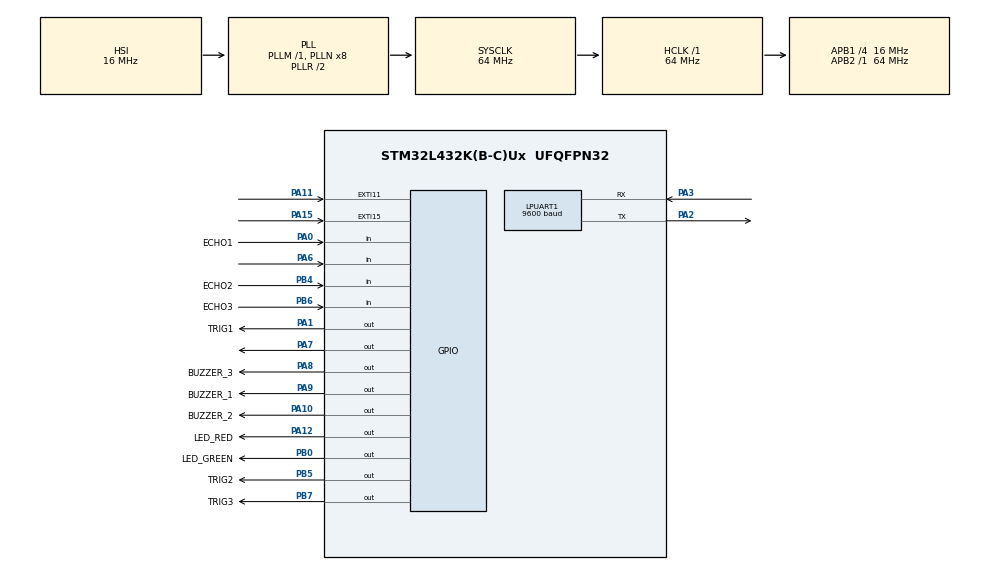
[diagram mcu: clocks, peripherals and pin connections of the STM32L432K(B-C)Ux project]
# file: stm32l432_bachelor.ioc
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Mcu.Family=STM32L4
RCC.CortexFreq_Value=64000000
NVIC.RTC_WKUP_IRQn=true\:0\:0\:false\:false\:true\:true\:true
PA0.GPIO_Label=ECHO1
VP_RTC_VS_RTC_Activate.Mode=RTC_Enabled
LPUART1.WordLength=UART_WORDLENGTH_8B
PB0.GPIO_Label=LED_GREEN
PB6.GPIO_Label=ECHO3
PA15\ (JTDI).Signal=GPXTI15
PC15-OSC32_OUT\ (PC15).Mode=LSE-External-Oscillator
RCC.SYSCLKSource=RCC_SYSCLKSOURCE_PLLCLK
ProjectManager.StackSize=0x400
PC14-OSC32_IN\ (PC14).Mode=LSE-External-Oscillator
PA14\ (JTCK-SWCLK).Signal=SYS_JTCK-SWCLK
PA12.Signal=GPIO_Output
TIM1.Prescaler=80-1
NVIC.LPUART1_IRQn=true\:0\:0\:false\:false\:true\:true\:true
RCC.HCLKFreq_Value=64000000
RCC.APB2TimFreq_Value=64000000
PB6.Signal=GPIO_Input
RCC.AHBFreq_Value=64000000
NVIC.EXTI15_10_IRQn=true\:0\:0\:false\:false\:true\:true\:true
RCC.HSE_VALUE=8000000
PA10.GPIO_Label=BUZZER_2
PB7.Signal=GPIO_Output
PA8.Signal=GPIO_Output
VP_TIM1_VS_ClockSourceINT.Mode=Internal
PA0.Signal=GPIO_Input
PB7.GPIO_Label=TRIG3
Mcu.Package=UFQFPN32
PA6.Signal=GPIO_Input
PA10.Signal=GPIO_Output
VP_RTC_VS_RTC_Calendar.Mode=RTC_Calendar
PB5.GPIO_Label=TRIG2
RCC.APB1TimFreq_Value=32000000
TIM1.Period=0
PA13\ (JTMS-SWDIO).Signal=SYS_JTMS-SWDIO
NVIC.RCC_IRQn=true\:0\:0\:false\:false\:true\:true\:false
RCC.HSI48_VALUE=48000000
PA3.Signal=LPUART1_RX
RCC.MSI_VALUE=4000000
RCC.PLLSourceVirtual=RCC_PLLSOURCE_HSI
PA14\ (JTCK-SWCLK).Mode=Serial_Wire
PA9.GPIO_Label=BUZZER_1
PC15-OSC32_OUT\ (PC15).Signal=RCC_OSC32_OUT
RCC.APB1CLKDivider=RCC_HCLK_DIV4
PA12.GPIO_Label=LED_RED
PA3.Mode=Asynchronous
PA8.GPIO_Label=BUZZER_3
ProjectManager.TargetToolchain=STM32CubeIDE
PA9.Signal=GPIO_Output
RCC.USBFreq_Value=64000000
PA1.Signal=GPIO_Output
board=custom
RCC.VCOOutputFreq_Value=128000000
RCC.APB2Freq_Value=64000000
RCC.ADCFreq_Value=64000000
PA1.GPIO_Label=TRIG1
NVIC.PVD_PVM_IRQn=true\:0\:0\:false\:false\:true\:true\:true
Mcu.Name=STM32L432K(B-C)Ux
LPUART1.BaudRate=9600
PA2.Signal=LPUART1_TX
NVIC.TIM1_CC_IRQn=true\:0\:0\:false\:false\:true\:true\:true
PA13\ (JTMS-SWDIO).Mode=Serial_Wire
RCC.SYSCLKFreq_VALUE=64000000
PB5.Signal=GPIO_Output
PC14-OSC32_IN\ (PC14).Signal=RCC_OSC32_IN
PA11.Signal=GPXTI11
ProjectManager.HeapSize=0x200
RCC.HSI_VALUE=16000000
VP_RTC_VS_RTC_WakeUp_intern.Mode=WakeUp
NVIC.PriorityGroup=NVIC_PRIORITYGROUP_4
PA2.Mode=Asynchronous
PB4\ (NJTRST).GPIO_Label=ECHO2
RCC.APB1Freq_Value=16000000
PB0.Signal=GPIO_Output
PA7.Signal=GPIO_Output
PB4\ (NJTRST).Signal=GPIO_Input

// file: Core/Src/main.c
/* USER CODE BEGIN Header */
/**
  ******************************************************************************
  * @file           : main.c
  * @brief          : Main program body
  */
/* USER CODE END Header */
#include "main.h"
#include "usart.h"
#include "rtc.h"
#include "tim.h"
#include "gpio.h"

/* USER CODE BEGIN Includes */
#include <string.h>
#include <stdio.h>
#include <stdlib.h>

#include "hc-sr04.h"
#include "buzzer.h"
#include "led.h"
/* USER CODE END Includes */

void SystemClock_Config(void);
/* USER CODE BEGIN PFP */
void uartOutput(void);

/* USER CODE END PFP */

/* USER CODE BEGIN 0 */

uint8_t LackOfObject(uint32_t time){

	uint32_t clk_Start = HAL_GetTick();

	if(clk_Start)
	do {
		//if the object in in the area radius, go out
		if (sensorGet(0) <= 400 || sensorGet(1) <= 400 || sensorGet(2) <= 400)
		{
			return 0;
		}

	}while (time < HAL_GetTick() - clk_Start);

	return 1;
}
/* USER CODE END 0 */

int main(void)
{

  /* MCU Configuration--------------------------------------------------------*/

  /* Reset of all peripherals, Initializes the Flash interface and the Systick. */
  HAL_Init();

  /* Configure the system clock */
  SystemClock_Config();

  /* Initialize all configured peripherals */
  MX_GPIO_Init();
  MX_TIM1_Init();
  MX_LPUART1_UART_Init();
  MX_RTC_Init();

  /* Infinite loop */
  while (1)
  {

    /* USER CODE BEGIN 3 */
	 if (LackOfObject(2000) == 1 && IsSleeping == 0)
	  stm32l_lowPowerMode();
	  stm32l_Resume();
	  uartOutput();
  }
  /* USER CODE END 3 */
}

void SystemClock_Config(void)
{
  RCC_OscInitTypeDef RCC_OscInitStruct = {0};
  RCC_ClkInitTypeDef RCC_ClkInitStruct = {0};
  RCC_PeriphCLKInitTypeDef PeriphClkInit = {0};

  /** Initializes the RCC Oscillators according to the specified parameters
  * in the RCC_OscInitTypeDef structure.
  */
  RCC_OscInitStruct.OscillatorType = RCC_OSCILLATORTYPE_HSI|RCC_OSCILLATORTYPE_LSI;
  RCC_OscInitStruct.HSIState = RCC_HSI_ON;
  RCC_OscInitStruct.HSICalibrationValue = RCC_HSICALIBRATION_DEFAULT;
  RCC_OscInitStruct.LSIState = RCC_LSI_ON;
  RCC_OscInitStruct.PLL.PLLState = RCC_PLL_ON;
  RCC_OscInitStruct.PLL.PLLSource = RCC_PLLSOURCE_HSI;
  RCC_OscInitStruct.PLL.PLLM = 1;
  RCC_OscInitStruct.PLL.PLLN = 8;
  RCC_OscInitStruct.PLL.PLLP = RCC_PLLP_DIV7;
  RCC_OscInitStruct.PLL.PLLQ = RCC_PLLQ_DIV2;
  RCC_OscInitStruct.PLL.PLLR = RCC_PLLR_DIV2;
  if (HAL_RCC_OscConfig(&RCC_OscInitStruct) != HAL_OK)
  {
    Error_Handler();
  }
  /** Initializes the CPU, AHB and APB buses clocks
  */
  RCC_ClkInitStruct.ClockType = RCC_CLOCKTYPE_HCLK|RCC_CLOCKTYPE_SYSCLK
                              |RCC_CLOCKTYPE_PCLK1|RCC_CLOCKTYPE_PCLK2;
  RCC_ClkInitStruct.SYSCLKSource = RCC_SYSCLKSOURCE_PLLCLK;
  RCC_ClkInitStruct.AHBCLKDivider = RCC_SYSCLK_DIV1;
  RCC_ClkInitStruct.APB1CLKDivider = RCC_HCLK_DIV4;
  RCC_ClkInitStruct.APB2CLKDivider = RCC_HCLK_DIV1;

  if (HAL_RCC_ClockConfig(&RCC_ClkInitStruct, FLASH_LATENCY_3) != HAL_OK)
  {
    Error_Handler();
  }
  PeriphClkInit.PeriphClockSelection = RCC_PERIPHCLK_RTC|RCC_PERIPHCLK_LPUART1;
  PeriphClkInit.Lpuart1ClockSelection = RCC_LPUART1CLKSOURCE_PCLK1;
  PeriphClkInit.RTCClockSelection = RCC_RTCCLKSOURCE_LSI;
  if (HAL_RCCEx_PeriphCLKConfig(&PeriphClkInit) != HAL_OK)
  {
    Error_Handler();
  }
  /** Configure the main internal regulator output voltage
  */
  if (HAL_PWREx_ControlVoltageScaling(PWR_REGULATOR_VOLTAGE_SCALE1) != HAL_OK)
  {
    Error_Handler();
  }
}

/* USER CODE BEGIN 4 */

void HAL_GPIO_EXTI_Callback(uint16_t GPIO_Pin)
{

	if(GPIO_Pin == EXTI11)
	{
		//HAL_SuspendTick();
		__HAL_PWR_CLEAR_FLAG(PWR_FLAG_WU);
	}

	if(IsSleeping == 1)
	{
		stm32l_Resume();
	}
}
/* USER CODE END 4 */

void Error_Handler(void)
{
}

/************************ (C) COPYRIGHT STMicroelectronics *****END OF FILE****/
